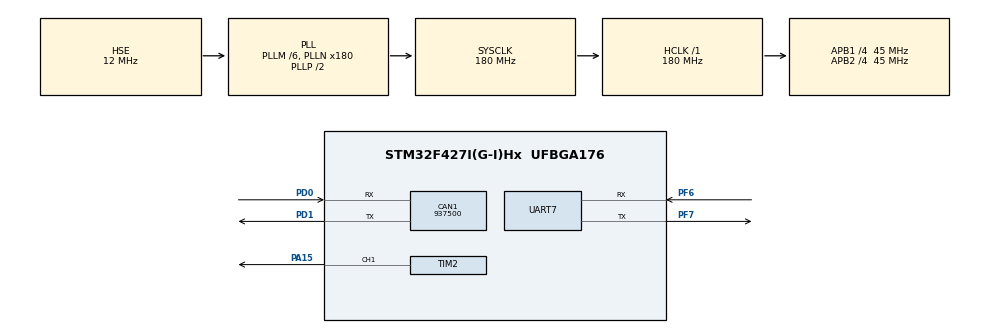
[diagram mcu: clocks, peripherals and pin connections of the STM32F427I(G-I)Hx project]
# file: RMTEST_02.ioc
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CAN1.BS1=CAN_BS1_1TQ
CAN1.BS2=CAN_BS2_1TQ
CAN1.CalculateBaudRate=937500
CAN1.CalculateTimeBit=1066
CAN1.CalculateTimeQuantum=355.55555555555554
FREERTOS.Tasks01=defaultTask,0,128,StartDefaultTask,Default,NULL,Dynamic,NULL,NULL;myTask02,-3,128,StartTask02,Default,NULL,Dynamic,NULL,NULL
Mcu.Family=STM32F4
Mcu.Name=STM32F427I(G-I)Hx
Mcu.Package=UFBGA176
NVIC.CAN1_RX0_IRQn=true\:5\:0\:false\:false\:true\:true\:true\:true\:true
NVIC.PriorityGroup=NVIC_PRIORITYGROUP_4
NVIC.TIM1_UP_TIM10_IRQn=true\:15\:0\:false\:false\:true\:false\:false\:true\:true
NVIC.TimeBase=TIM1_UP_TIM10_IRQn
NVIC.TimeBaseIP=TIM1
NVIC.UART7_IRQn=true\:5\:0\:false\:false\:true\:true\:true\:true\:true
PA15.Signal=S_TIM2_CH1_ETR
PC14/OSC32_IN.Mode=LSE-External-Oscillator
PC14/OSC32_IN.Signal=RCC_OSC32_IN
PC15/OSC32_OUT.Mode=LSE-External-Oscillator
PC15/OSC32_OUT.Signal=RCC_OSC32_OUT
PD0.Mode=CAN_Activate
PD0.Signal=CAN1_RX
PD1.Mode=CAN_Activate
PD1.Signal=CAN1_TX
PF6.Mode=Asynchronous
PF6.Signal=UART7_RX
PF7.Mode=Asynchronous
PF7.Signal=UART7_TX
PH0/OSC_IN.Mode=HSE-External-Oscillator
PH0/OSC_IN.Signal=RCC_OSC_IN
PH1/OSC_OUT.Mode=HSE-External-Oscillator
PH1/OSC_OUT.Signal=RCC_OSC_OUT
ProjectManager.HeapSize=0x200
ProjectManager.StackSize=0x400
ProjectManager.TargetToolchain=MDK-ARM V5.32
RCC.48MHZClocksFreq_Value=90000000
RCC.AHBFreq_Value=180000000
RCC.APB1CLKDivider=RCC_HCLK_DIV4
RCC.APB1Freq_Value=45000000
RCC.APB1TimFreq_Value=90000000
RCC.APB2CLKDivider=RCC_HCLK_DIV4
RCC.APB2Freq_Value=45000000
RCC.APB2TimFreq_Value=90000000
RCC.CortexFreq_Value=180000000
RCC.HCLKFreq_Value=180000000
RCC.HSE_VALUE=12000000
RCC.HSI_VALUE=16000000
RCC.PLLM=6
RCC.PLLN=180
RCC.PLLSourceVirtual=RCC_PLLSOURCE_HSE
RCC.SYSCLKFreq_VALUE=180000000
RCC.SYSCLKSource=RCC_SYSCLKSOURCE_PLLCLK
RCC.VCOOutputFreq_Value=360000000
SH.S_TIM2_CH1_ETR.0=TIM2_CH1,PWM Generation1 CH1
TIM2.Channel-PWM\ Generation1\ CH1=TIM_CHANNEL_1
TIM2.Period=19999
TIM2.Prescaler=8999
UART7.VirtualMode=Asynchronous
VP_FREERTOS_VS_CMSIS_V1.Mode=CMSIS_V1
VP_SYS_VS_tim1.Mode=TIM1
VP_TIM2_VS_ClockSourceINT.Mode=Internal
board=custom

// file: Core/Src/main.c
/* USER CODE BEGIN Header */
/**
  ******************************************************************************
  * @file           : main.c
  * @brief          : Main program body
  ******************************************************************************
  * @attention
  *
  * Copyright (c) 2022 STMicroelectronics.
  * All rights reserved.
  *
  * This software is licensed under terms that can be found in the LICENSE file
  * in the root directory of this software component.
  * If no LICENSE file comes with this software, it is provided AS-IS.
  *
  ******************************************************************************
  */
/* USER CODE END Header */
#include "main.h"
#include "cmsis_os.h"
#include "can.h"
#include "tim.h"
#include "usart.h"
#include "gpio.h"

/* USER CODE BEGIN Includes */
#include "bsp_can.h"
#include "CAN_receive.h"
/* USER CODE END Includes */

/* USER CODE BEGIN PV */
//重构print函数
#define RXBUFFERSIZE  256
char RxBuffer[RXBUFFERSIZE];
/* USER CODE END PV */

void SystemClock_Config(void);
void MX_FREERTOS_Init(void);

int main(void)
{

  /* MCU Configuration--------------------------------------------------------*/

  /* Reset of all peripherals, Initializes the Flash interface and the Systick. */
  HAL_Init();

  /* Configure the system clock */
  SystemClock_Config();

  /* Initialize all configured peripherals */
  MX_GPIO_Init();
  MX_CAN1_Init();
  MX_TIM2_Init();
  MX_UART7_Init();
  /* USER CODE BEGIN 2 */
   HAL_TIM_PWM_Start(&htim2,TIM_CHANNEL_1);
  /* USER CODE END 2 */

  /* Call init function for freertos objects (in freertos.c) */
  MX_FREERTOS_Init();

  /* Start scheduler */
  osKernelStart();

  /* We should never get here as control is now taken by the scheduler */
  /* Infinite loop */
  while (1)
  {

  }
}

void SystemClock_Config(void)
{
  RCC_OscInitTypeDef RCC_OscInitStruct = {0};
  RCC_ClkInitTypeDef RCC_ClkInitStruct = {0};

  /** Configure the main internal regulator output voltage
  */
  __HAL_RCC_PWR_CLK_ENABLE();
  __HAL_PWR_VOLTAGESCALING_CONFIG(PWR_REGULATOR_VOLTAGE_SCALE1);

  /** Initializes the RCC Oscillators according to the specified parameters
  * in the RCC_OscInitTypeDef structure.
  */
  RCC_OscInitStruct.OscillatorType = RCC_OSCILLATORTYPE_HSE;
  RCC_OscInitStruct.HSEState = RCC_HSE_ON;
  RCC_OscInitStruct.PLL.PLLState = RCC_PLL_ON;
  RCC_OscInitStruct.PLL.PLLSource = RCC_PLLSOURCE_HSE;
  RCC_OscInitStruct.PLL.PLLM = 6;
  RCC_OscInitStruct.PLL.PLLN = 180;
  RCC_OscInitStruct.PLL.PLLP = RCC_PLLP_DIV2;
  RCC_OscInitStruct.PLL.PLLQ = 4;
  if (HAL_RCC_OscConfig(&RCC_OscInitStruct) != HAL_OK)
  {
    Error_Handler();
  }

  /** Activate the Over-Drive mode
  */
  if (HAL_PWREx_EnableOverDrive() != HAL_OK)
  {
    Error_Handler();
  }

  /** Initializes the CPU, AHB and APB buses clocks
  */
  RCC_ClkInitStruct.ClockType = RCC_CLOCKTYPE_HCLK|RCC_CLOCKTYPE_SYSCLK
                              |RCC_CLOCKTYPE_PCLK1|RCC_CLOCKTYPE_PCLK2;
  RCC_ClkInitStruct.SYSCLKSource = RCC_SYSCLKSOURCE_PLLCLK;
  RCC_ClkInitStruct.AHBCLKDivider = RCC_SYSCLK_DIV1;
  RCC_ClkInitStruct.APB1CLKDivider = RCC_HCLK_DIV4;
  RCC_ClkInitStruct.APB2CLKDivider = RCC_HCLK_DIV4;

  if (HAL_RCC_ClockConfig(&RCC_ClkInitStruct, FLASH_LATENCY_5) != HAL_OK)
  {
    Error_Handler();
  }
}

void HAL_TIM_PeriodElapsedCallback(TIM_HandleTypeDef *htim)
{
  if (htim->Instance == TIM1) {
    HAL_IncTick();
  }
}

void Error_Handler(void)
{
  __disable_irq();
  while (1)
  {
  }
}

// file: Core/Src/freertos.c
/* USER CODE BEGIN Header */
/**
  ******************************************************************************
  * File Name          : freertos.c
  * Description        : Code for freertos applications
  ******************************************************************************
  * @attention
  *
  * Copyright (c) 2022 STMicroelectronics.
  * All rights reserved.
  *
  * This software is licensed under terms that can be found in the LICENSE file
  * in the root directory of this software component.
  * If no LICENSE file comes with this software, it is provided AS-IS.
  *
  ******************************************************************************
  */
/* USER CODE END Header */

#include "FreeRTOS.h"
#include "task.h"
#include "main.h"
#include "cmsis_os.h"

/* USER CODE BEGIN Includes */
#include "bsp_can.h"
#include "CAN_receive.h"
#include "usart.h"
#include "tim.h"

//1、首先要在你的main 文件中 包含“stdio.h” （标准输入输出头文件）
#include <stdio.h>

//2、在main文件中重定义<fputc>函数 如下：
// 发送数据
int fputc(int ch, FILE *f)
{
  HAL_UART_Transmit(&huart7,(uint8_t *)&ch, 1, 0xFFFF);// USART1 可以换成 USART2 等
  while (!(UART7->SR & UART_FLAG_TXE));
  return (ch);
}
// 接收数据
int GetKey (void) {
  while (!(UART7->SR & UART_FLAG_RXNE));
   return ((int)(UART7->DR & 0x1FF));
}

/* USER CODE END Includes */

/* USER CODE BEGIN PTD */
unsigned char Usart_TX_Buf[40];
uint16_t date1;//stm32接收到串口的数据
uint8_t Usart1_RX_Buf;  //串口接收数据缓存buf
uint8_t Rx_UART_off=0;//串口接受结束标志
//
uint8_t RxCounter1=0;//数据缓冲区的索引
uint8_t RxBuffer1[5]={0};//存放数据的接收缓存区
uint8_t RxState = 0;	//接收标志位

   const motor_measure_t* motor_2006_1;
//	motor_measure_t* get_trigger_motor_measure_point();
/* USER CODE END PTD */

/* USER CODE BEGIN PD */
typedef struct
{
  float target_val;
  //目标值
  float err;
  //偏差值
	float err_last;
	//上一个偏差值
	float Kp,Ki, Kd;
	//比例、积分、微分系数
	float integral;
	//积分值
	float output_val;
	//输出值.
}PID;
	PID pid;
void PID_Init(uint32_t val )
{
	PID pid;
  pid.target_val=val;
   //目标值
  pid.err_last;//上一个偏差值
  pid. Kp=0.5;
  pid.Ki=2;
  pid.Kd= 2; //比例、积分、微分系数
  pid.integral=12;
  //积分值
  pid.output_val=0; //输 出值

}

float PID_realize(float actual_val)
{/*计算目标值与实际值的误差*/
		pid.err = pid.target_val - actual_val;
		/*积分项*/
		pid.integral += pid.err;
		/*PID算法实现*/
		pid.output_val = pid.Kp * pid.err +
		pid.Ki * pid.integral +
		pid.Kd*(pid.err - pid.err_last);
		/*误差传递*/
		pid.err_last = pid.err;
		/*返回当前实际值*/
			return pid.output_val;
}

typedef enum
{
	W_KEY_NULL,         //没有按键按下
	W_KEY_DuoJi,        //控制舵机运动角度
	W_KEY_motor,        //控制电机运动速度，返回电机运动速度
	W_KEY_motor_angle,   //控制电机运动角度，返回角度值
	W_KEY_START_PAUSE   //启动/暂停键按下
}RMBLUEE_KEY;//串口发送模拟按键
	RMBLUEE_KEY RMBLUEE_Key = W_KEY_NULL;

RMBLUEE_KEY check_key_press()
{

	int idx = date1;//串口节后数据值
	if (idx != -1)
	{
		switch(idx)
		{
			case 0: RMBLUEE_Key = W_KEY_DuoJi; break; //控制舵机运动角度
			case 1: RMBLUEE_Key = W_KEY_motor; break; //控制电机运动速度，返回电机运动速度
			case 2: RMBLUEE_Key = W_KEY_motor_angle; break;  //控制电机运动角度，返回角度值
			case 3: RMBLUEE_Key = W_KEY_START_PAUSE; break; //启动/暂停键按下
			default: break;
		}
		//printf("%s idx:%d -> RMBLUEE_Key:%d\r\n", __func__, idx, washerKey);
	}

	return RMBLUEE_Key;
}

//舵机工作函数
void DuoJi_do()
{
	uint8_t DuoJi=0;
	Rx_UART_off=0;//接收结束标志置0
	while(Rx_UART_off==0)
    printf("please write Duoji jiaodu(1000-2000)...\r\n");
    DuoJi=date1;
	  Rx_UART_off=1;//接收结束标志置1
    HAL_TIM_PWM_Start(&htim2,TIM_CHANNEL_1);
  __HAL_TIM_SET_COMPARE(&htim2,TIM_CHANNEL_1,DuoJi);//0°此时对应1500、、20000总周期

}

/*控制电机运动速度，返回电机运动速度*/
 void motor_do()
{
	 static uint8_t motor_speed=0;
	if(RMBLUEE_Key==W_KEY_motor)//区分是否更改电机运动状态
		{

    Rx_UART_off=0;//接收结束标志置0
	  while(Rx_UART_off==0)
    printf("please write motor_speed([0,20000])...\r\n");

	   Rx_UART_off=1;//接收结束标志置1

    //shoot: (0x207) 2006电机控制电流, 范围 [-10000,10000]
	  motor_speed=date1;//串口接收的数据为无符号的,发送数据+10000，这里-10000
		CAN_cmd_gimbal(0, 0,(motor_speed-10000), 0);//控制电机转速
		 }
	  PID_Init(motor_speed);//这里应填入电流换算成的速度大小，此处简写
	  motor_2006_1 = get_trigger_motor_measure_point();//返回拨弹电机 2006电机数据指针
	  float a=PID_realize((motor_2006_1->speed_rpm));
	  CAN_cmd_gimbal(0, 0,a, 0);//控制电机转速
		  if(RMBLUEE_Key==W_KEY_motor)//区分是否更改电机运动状态，及显示
			{
    printf("motor_speed is...\r\n"); //返回实际速度
	 	HAL_UART_Transmit(&huart7,(uint8_t *)&a,3,0xFFFF);//输出电机的速度
			}

}
/*控制电机运动角度，返回角度值*/

	void	motor_angle_do_()
{
		 static uint8_t motor_angle=0;
	   static uint8_t motor_angle_1=0;
	   static int8_t motor_angle_2=0;
   	 static uint8_t t=0;
	if(RMBLUEE_Key==W_KEY_motor_angle)//区分是否更改电机运动状态
    {
    Rx_UART_off=0;//接收结束标志置0
		while(Rx_UART_off==0)
    printf("please write motor_angle([0,360])...\r\n");
	  motor_angle=date1;
	  Rx_UART_off=1;//接收结束标志置1
		}
    //假设电流度15000下速度是+2m/s
  	//假设电流度-15000下速度是-2m/s

		motor_angle_1=motor_2006_1->ecd;//当前角度值
		motor_angle_2=	motor_angle-motor_angle_1;//角度差值
		if(motor_angle_2<0)
		 motor_angle_2=motor_angle_2+360;//

    t=((motor_angle_2/360)*3.14*0.2)/2;
    PID_Init(15000);
	  float a=PID_realize((motor_2006_1->speed_rpm));//对速度PID速度稳定，*时间得角度
	  for(t=t;t>=0;t--)
				{
  					HAL_Delay(1000);//转t秒得到角度
					  CAN_cmd_gimbal(0, 0,a, 0);//控制电机转速
				}
					if(RMBLUEE_Key==W_KEY_motor_angle)//区分是否更改电机运动状态及显示
					{
	    motor_2006_1 = get_trigger_motor_measure_point();//返回拨弹电机 2006电机数据指针
      printf("motor_angle is...\r\n"); //返回实际角度
			HAL_UART_Transmit(&huart7,(uint8_t *)&(motor_2006_1->ecd),3,0xFFFF);//输出电机的角度
					}
}
//
void RMBLUEE_run_loop()
{
	check_key_press();
	switch(RMBLUEE_Key)
	{
		/*没信息输入*/
		case W_KEY_NULL:
			break;

		/*控制舵机运动角度*/
		case W_KEY_DuoJi:
			DuoJi_do();
			break;

		/*控制电机运动速度，返回电机运动速度*/
		case W_KEY_motor:
			motor_do();
			break;

		/*控制电机运动角度，返回角度值*/
		case W_KEY_motor_angle:
			motor_angle_do_();
			break;

		default: break;
	}
}
/*————————————————
版权声明：本文为CSDN博主「码农爱学习」的原创文章，遵循CC 4.0 BY-SA版权协议，转载请附上原文出处链接及本声明。
原文链接：https://blog.csdn.net/hbsyaaa/article/details/125862779*/
/* USER CODE END PD */

osThreadId defaultTaskHandle;
osThreadId myTask02Handle;

void StartDefaultTask(void const * argument);
void StartTask02(void const * argument);

void MX_FREERTOS_Init(void); /* (MISRA C 2004 rule 8.1) */

/* GetIdleTaskMemory prototype (linked to static allocation support) */
void vApplicationGetIdleTaskMemory( StaticTask_t **ppxIdleTaskTCBBuffer, StackType_t **ppxIdleTaskStackBuffer, uint32_t *pulIdleTaskStackSize );

/* USER CODE BEGIN GET_IDLE_TASK_MEMORY */
static StaticTask_t xIdleTaskTCBBuffer;
static StackType_t xIdleStack[configMINIMAL_STACK_SIZE];

void vApplicationGetIdleTaskMemory( StaticTask_t **ppxIdleTaskTCBBuffer, StackType_t **ppxIdleTaskStackBuffer, uint32_t *pulIdleTaskStackSize )
{
  *ppxIdleTaskTCBBuffer = &xIdleTaskTCBBuffer;
  *ppxIdleTaskStackBuffer = &xIdleStack[0];
  *pulIdleTaskStackSize = configMINIMAL_STACK_SIZE;
  /* place for user code */
}
/* USER CODE END GET_IDLE_TASK_MEMORY */

void MX_FREERTOS_Init(void) {

  /* Create the thread(s) */
  /* definition and creation of defaultTask */
  osThreadDef(defaultTask, StartDefaultTask, osPriorityNormal, 0, 128);
  defaultTaskHandle = osThreadCreate(osThread(defaultTask), NULL);

  /* definition and creation of myTask02 */
  osThreadDef(myTask02, StartTask02, osPriorityIdle, 0, 128);
  myTask02Handle = osThreadCreate(osThread(myTask02), NULL);

}

void StartDefaultTask(void const * argument)
{
  /* USER CODE BEGIN StartDefaultTask */
  /* Infinite loop */

  for(;;)
  {

		printf("Pleace write command(0,1,2,3)...\r\n");

		RMBLUEE_run_loop();

    osDelay(1);
  }
  /* USER CODE END StartDefaultTask */
}

void StartTask02(void const * argument)
{
  /* USER CODE BEGIN StartTask02 */
  /* Infinite loop */
  for(;;)
  {//双线程+状态机作用，在串口控制其他状态的时候电机维持原来设定速度运动
		   motor_do();
	//	motor_angle_do_();电机角度不需要多线程，一次就转到位置了；
       osDelay(1);
  }
  /* USER CODE END StartTask02 */
}

/* USER CODE BEGIN Application */

/**************************************************************************
函数功能：USART7接收中断回调
引脚：		 TX_PF7,RX_PF6
**************************************************************************/
//串口中断回调函数
void HAL_UART_RxCpltCallback(UART_HandleTypeDef *huart)
{

		uint8_t i;
		/*static uint8_t RxCounter1=0;//数据缓冲区的索引
		static uint8_t RxBuffer1[5]={0};//存放数据的接收缓存区
		static uint8_t RxState = 0;	//接收标志位*/
			//int date1= (short)(byte[0]<<8+byte[1]);有符号的在机器中为补码，应该这样处理，但不太确定
		if(RxState==0&&Usart1_RX_Buf==0xA5)  //0xA5帧头
				{
					RxState=1;//状态1
					RxBuffer1[RxCounter1++]=Usart1_RX_Buf;//RxBuffer1[0]==0xA5 RxCounter1==1
				}

				else if(RxState==1)//开始接收有效数据
				{
					RxBuffer1[RxCounter1++]=Usart1_RX_Buf;//全部接收完，RxCounter1==5

					if(RxCounter1>=5||Usart1_RX_Buf == 0x5A)       //RxBuffer1接受满了,接收数据结束
					{
						  RxState=2;
						date1=(RxBuffer1[RxCounter1-2]<<8)+(RxBuffer1[RxCounter1-3]);
					}
				}
				else if(RxState==3)		//检测是否接受到结束标志
				{
						if(RxBuffer1[RxCounter1-1] == 0x5A)
						{
									RxCounter1 = 0;
									RxState = 0;
                  Rx_UART_off=1;//串口接收结束标志

						}
						else   //接收错误
						{
									RxState = 0;
									RxCounter1=0;
									for(i=0;i<5;i++)
									{
											RxBuffer1[i]=0x00;      //将存放数据数组清零

									}
						}
				}

				else   //接收异常
				{
						RxState = 0;
						RxCounter1=0;
						for(i=0;i<5;i++)
						{
								RxBuffer1[i]=0x00;      //将存放数据数组清零

						}
				}
	HAL_UART_Receive_IT(&huart7,&Usart1_RX_Buf,1);

}

/* USER CODE END Application */
